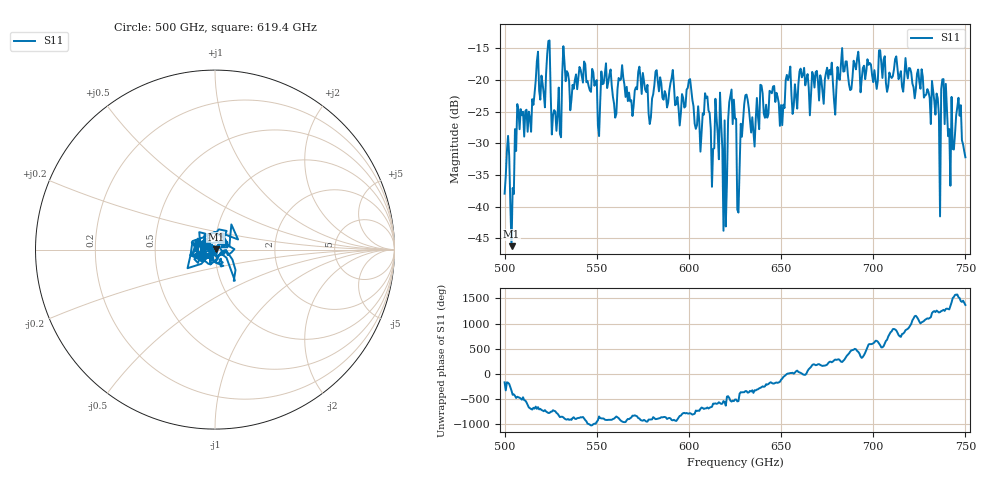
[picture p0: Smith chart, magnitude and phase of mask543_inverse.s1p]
!Created with skrf (http://scikit-rf.org).
# GHz S MA R 50.0
!freq magS11 angS11
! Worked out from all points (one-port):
!   401 points, 500 GHz to 750 GHz, reference 50 ohm
!   lowest |S11| = -46.3 dB at 503.8 GHz (marker M1), VSWR 1.01, Z = 50.4 + j0.205 ohm
!   |S11| at or under -10 dB: start of sweep to end of sweep
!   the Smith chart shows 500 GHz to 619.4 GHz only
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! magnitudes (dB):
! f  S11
! 500 GHz  -38.0
! 501.9 GHz  -28.8
! 503.8 GHz  -46.3
! 508.1 GHz  -27.8
! 513.8 GHz  -26.0
! 517.5 GHz  -17.1
! 523.8 GHz  -13.8
! 526.9 GHz  -24.8
! 531.2 GHz  -19.1
! 562.5 GHz  -20.1
! 593.8 GHz  -22.7
! 610 GHz  -22.6
! 612.5 GHz  -36.9
! 616.2 GHz  -32.5
! 619.4 GHz  -26.4
! 622.5 GHz  -22.5
! 625 GHz  -26.1
! 627.5 GHz  -34.1
! 631.2 GHz  -22.3
! 635 GHz  -28.2
! 656.2 GHz  -25.4
! 687.5 GHz  -21.6
! 718.8 GHz  -19.8
! 735 GHz  -22.9
! 738.1 GHz  -19.9
! 743.1 GHz  -30.9
! 746.2 GHz  -22.8
! 750 GHz  -32.2
